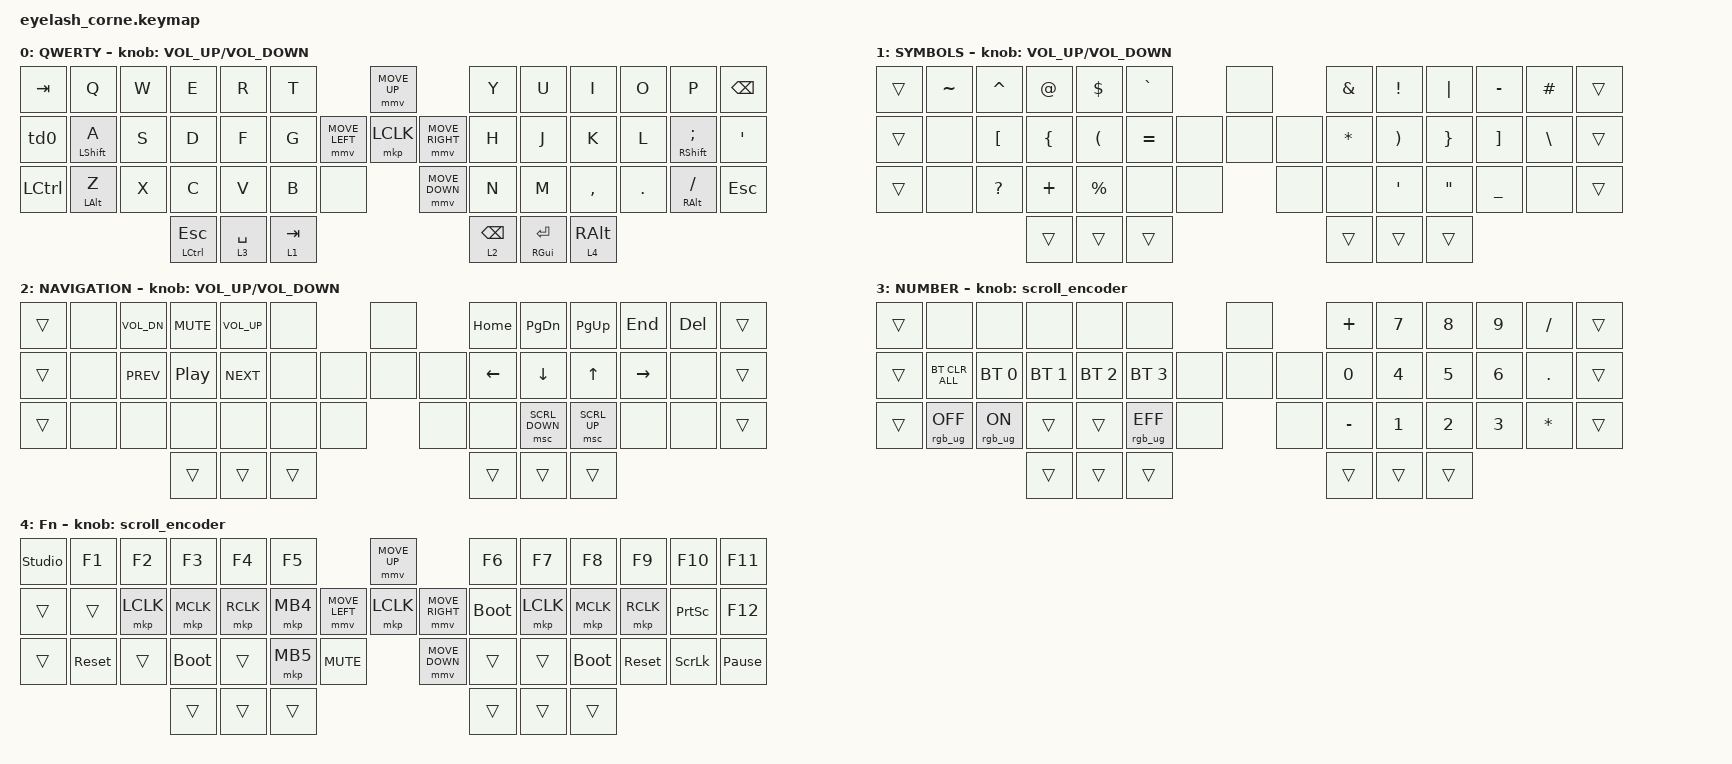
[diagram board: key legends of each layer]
#define ZMK_POINTING_DEFAULT_MOVE_VAL 1200  // 600
#define ZMK_POINTING_DEFAULT_SCRL_VAL 25   // 10

#include <input/processors.dtsi>
#include <zephyr/dt-bindings/input/input-event-codes.h>
#include <behaviors.dtsi>
#include <dt-bindings/zmk/bt.h>
#include <dt-bindings/zmk/ext_power.h>
#include <dt-bindings/zmk/keys.h>
#include <dt-bindings/zmk/outputs.h>
#include <dt-bindings/zmk/pointing.h>
#include <dt-bindings/zmk/rgb.h>

&mmv_input_listener { input-processors = <&zip_xy_scaler 2 1>; };

&msc_input_listener { input-processors = <&zip_scroll_scaler 2 1>; };

&msc {
    acceleration-exponent = <1>;      // 0
    time-to-max-speed-ms = <100>;       // 300
    delay-ms = <0>;                   // 0
};

&mmv {
    time-to-max-speed-ms = <500>;
    acceleration-exponent = <1>;
    trigger-period-ms = <16>;
};


/ {
    behaviors {
        td0: td0 {
            compatible = "zmk,behavior-tap-dance";
            display-name = "Shift/Caps Lock Tap Dance";
            #binding-cells = <0>;
            bindings = <&kp LEFT_SHIFT>, <&kp CAPS>;
        };
        hm: homerow_mod {
            compatible = "zmk,behavior-hold-tap";
            #binding-cells = <2>;
            tapping-term-ms = <210>;    // <---[[moderate duration]]
            quick-tap-ms = <0>;
            flavor = "balanced";
            bindings = <&kp>, <&kp>;
        };
    };

    rgb_encoder: rgb_encoder {
        compatible = "zmk,behavior-sensor-rotate";
        #sensor-binding-cells = <0>;
        bindings = <&rgb_ug RGB_BRI>, <&rgb_ug RGB_BRD>;
    };

    scroll_encoder: scroll_encoder {
        compatible = "zmk,behavior-sensor-rotate";
        #sensor-binding-cells = <0>;
        bindings = <&msc SCRL_DOWN>, <&msc SCRL_UP>;
        tap-ms = <100>;
    };

    keymap {
        compatible = "zmk,keymap";

        default_layer {
            display-name = "QWERTY";
            bindings = <
&kp TAB    &kp Q         &kp W  &kp E  &kp R  &kp T                           &mmv MOVE_UP                      &kp Y  &kp U  &kp I      &kp O    &kp P            &kp BSPC
&td0       &hm LSHIFT A  &kp S  &kp D  &kp F  &kp G                 &mmv MOVE_LEFT  &mkp LCLK  &mmv MOVE_RIGHT  &kp H  &kp J  &kp K      &kp L    &hm RSHIFT SEMI  &kp SQT
&kp LCTRL  &hm LALT Z    &kp X  &kp C  &kp V  &kp B   &none                   &mmv MOVE_DOWN                    &kp N  &kp M  &kp COMMA  &kp DOT  &hm RALT FSLH    &kp ESC
                               &hm LCTRL ESC  &lt 3 SPACE  &lt 1 TAB                              &lt 2 BKSP    &hm RGUI ENTER  &lt 4 RALT
            >;
            sensor-bindings = <&inc_dec_kp C_VOLUME_UP C_VOLUME_DOWN>;
        };

        symbols {
            display-name = "SYMBOLS";
            bindings = <
&trans     &kp TILDE     &kp CARET  &kp AT    &kp DLLR   &kp GRAVE              &none         &kp AMPS     &kp EXCL  &kp PIPE  &kp MINUS  &kp HASH  &trans
&trans     &none         &kp LBKT   &kp LBRC  &kp LPAR   &kp EQUAL       &none  &none  &none  &kp ASTRK    &kp RPAR  &kp RBRC  &kp RBKT   &kp BSLH  &trans
&trans     &none         &kp QMARK  &kp PLUS  &kp PRCNT  &none   &none          &none         &none        &kp SQT   &kp DQT   &kp UNDER  &none     &trans
                                                 &trans  &trans  &trans               &trans  &trans  &trans
            >;
            sensor-bindings = <&inc_dec_kp C_VOLUME_UP C_VOLUME_DOWN>;
        };

        navigation {
            display-name = "NAVIGATION";
            bindings = <
&trans     &none         &kp C_VOL_DN  &kp C_MUTE  &kp C_VOL_UP  &none                 &none         &kp HOME     &kp PG_DN       &kp PG_UP     &kp END    &kp DEL  &trans
&trans     &none         &kp C_PREV    &kp C_PP    &kp C_NEXT    &none          &none  &none  &none  &kp LEFT     &kp DOWN        &kp UP        &kp RIGHT  &none    &trans
&trans     &none         &none         &none       &none         &none   &none         &none         &none        &msc SCRL_DOWN  &msc SCRL_UP  &none      &none    &trans
                                                         &trans  &trans  &trans                           &trans  &trans  &trans
            >;
            sensor-bindings = <&inc_dec_kp C_VOLUME_UP C_VOLUME_DOWN>;

        };

        number {
            display-name = "NUMBER";
            bindings = <
&trans  &none            &none           &none         &none         &none                          &none         &kp PLUS   &kp N7  &kp N8  &kp N9  &kp SLASH  &trans
&trans  &bt BT_CLR_ALL   &bt BT_SEL 0    &bt BT_SEL 1  &bt BT_SEL 2  &bt BT_SEL 3            &none  &none  &none  &kp N0     &kp N4  &kp N5  &kp N6  &kp DOT    &trans
&trans  &rgb_ug RGB_OFF  &rgb_ug RGB_ON  &trans        &trans        &rgb_ug RGB_EFF &none          &none         &kp MINUS  &kp N1  &kp N2  &kp N3  &kp ASTRK  &trans
                                                       &trans        &trans        &trans                   &trans          &trans          &trans
            >;
            sensor-bindings = <&scroll_encoder>;
        };

        layer_3 {
            display-name = "Fn";
            bindings = <
&studio_unlock   &kp F1      &kp F2      &kp F3       &kp F4     &kp F5                                  &mmv MOVE_UP                     &kp F6       &kp F7     &kp F8       &kp F9      &kp F10          &kp F11
&trans  &trans      &mkp LCLK   &mkp MCLK    &mkp RCLK  &mkp MB4                &mmv MOVE_LEFT  &mkp LCLK       &mmv MOVE_RIGHT  &bootloader  &mkp LCLK  &mkp MCLK    &mkp RCLK   &kp PRINTSCREEN  &kp F12
&trans  &sys_reset  &trans      &bootloader  &trans     &mkp MB5  &kp C_MUTE                    &mmv MOVE_DOWN                   &trans       &trans     &bootloader  &sys_reset  &kp SCROLLLOCK   &kp PAUSE_BREAK
                                &trans      &trans      &trans                                                                   &trans       &trans     &trans
            >;
            sensor-bindings = <&scroll_encoder>;
        };
    };
};
